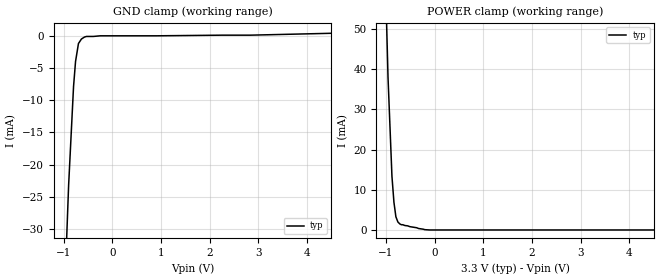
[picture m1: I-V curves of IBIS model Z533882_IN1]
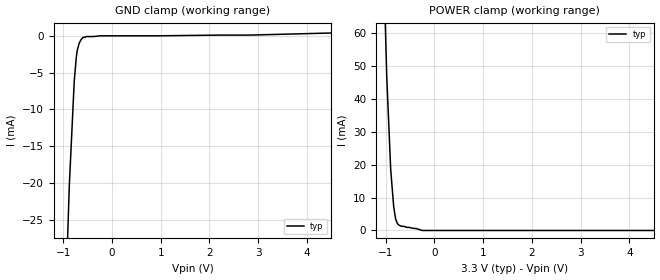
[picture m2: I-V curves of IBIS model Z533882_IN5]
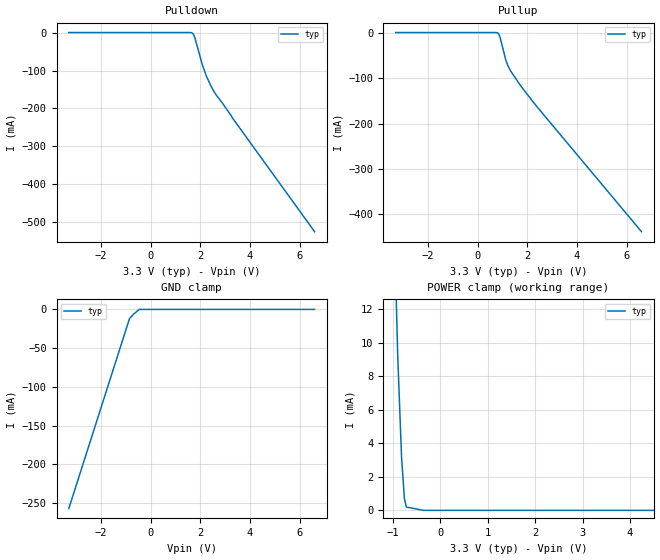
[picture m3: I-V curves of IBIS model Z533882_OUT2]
| YOU ARE ONLY AUTHORIZED TO USE THIS SOFTWARE
| ACCORDING TO LICENSOR'S LICENSE RESTRICTIONS.
[IBIS Ver] 3.1
[File Name] mc100lve111fn_pecl.ibs
[File Rev] 2.0
[Source] Measured and created by ICX Technology
[Date] Friday 7/14/00 9:07:48 AM
[Copyright]
| (C) COPYRIGHT 1993-2000
| MENTOR GRAPHICS CORPORATION
| ICX STANDARD LIBRARY, ICX PROJECT MODELING,
| ICX CUSTOM MODELING, ICX VENDOR MODEL
| ALL RIGHTS RESERVED.
| THE FOLLOWING ARE TRADEMARKS OR SERVICE MARKS OF
| MENTOR GRAPHICS CORPORATION:ICX (R), ICX STANDARD
| LIBRARY(R), ICX PROJECT MODELING(R), ICX CUSTOM
| MODELING(R), qualityIBIS(TM), MODELVIEWER(TM),
| AND MODELEDITOR(TM)
| ALL COPIES OF SOFTWARE, INCLUDING BUT NOT LIMITED TO
| ANY MODIFICATIONS, ENHANCEMENTS OR DERIVATIVE WORKS,
| MUST CONTAIN ALL MENTOR GRAPHICS CORPORATION'S
| NOTICES AND LEGENDS, INCLUDING THOSE EMBEDDED IN
| SOFTWARE AND THOSE AFFIXED TO SOFTWARE MEDIUM
| AND CONTAINER, AS RECEIVED FROM MENTOR GRAPHICS
| CORPORATION.
|  ZAP Model Builder 2.7
[Component] MC100LVE111FN_PECL
[Manufacturer] OnSemiconductor
[Package]
| variable   typ   min   max
R_pkg  .083ohms NA NA
L_pkg  4.299nH NA NA
C_pkg  1.045pF NA NA
[Pin] signal_name  model_name  R_pin  L_pin C_pin
1 VCC POWER .08 3.94n .925p
2 _IN Z533882_IN1 .082 4.14n .995p
3 VBB NC .084 4.354n 1.065p
4 NC NC .086 4.583n 1.135p
5 _Q8 Z533882_OUT2 .086 4.583n 1.135p
6 Q8 Z533882_OUT2 .084 4.354n 1.065p
7 _Q7 Z533882_OUT2 .082 4.14n .995p
8 VCCO POWER .08 3.94n .925p
9 Q7 Z533882_OUT2 .082 4.14n .995p
10 _Q6 Z533882_OUT2 .084 4.354n 1.065p
11 Q6 Z533882_OUT2 .086 4.583n 1.135p
12 _Q5 Z533882_OUT3 .086 4.583n 1.135p
13 Q5 Z533882_OUT3 .084 4.354n 1.065p
14 _Q4 Z533882_OUT3 .082 4.14n .995p
15 VCCO POWER .08 3.94n .925p
16 Q4 Z533882_OUT3 .082 4.14n .995p
17 _Q3 Z533882_OUT3 .084 4.354n 1.065p
18 Q3 Z533882_OUT3 .086 4.583n 1.135p
19 _Q2 Z533882_OUT4 .086 4.583n 1.135p
20 Q2 Z533882_OUT4 .084 4.354n 1.065p
21 _Q1 Z533882_OUT4 .082 4.14n .995p
22 VCCO POWER .08 3.94n .925p
23 Q1 Z533882_OUT4 .082 4.14n .995p
24 _Q0 Z533882_OUT4 .084 4.354n 1.065p
25 Q0 Z533882_OUT4 .086 4.583n 1.135p
26 VEE POWER .086 4.583n 1.135p
27 NC NC .084 4.354n 1.065p
28 IN Z533882_IN5 .082 4.14n .995p
| Models and submodels in the file (5): Z533882_IN1 (Input_ECL), Z533882_IN5 (Input_ECL), Z533882_OUT2 (Output_ECL), Z533882_OUT3 (Output_ECL), Z533882_OUT4 (Output_ECL)
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| (C) COPYRIGHT 1993-2000
| MENTOR GRAPHICS CORPORATION
| ICX STANDARD LIBRARY, ICX PROJECT MODELING,
| ICX CUSTOM MODELING, ICX VENDOR MODEL
| ALL RIGHTS RESERVED.
| THE FOLLOWING ARE TRADEMARKS OR SERVICE MARKS OF
| MENTOR GRAPHICS CORPORATION:ICX (R), ICX STANDARD
| LIBRARY(R), ICX PROJECT MODELING(R), ICX CUSTOM
| MODELING(R), qualityIBIS(TM), MODELVIEWER(TM),
| AND MODELEDITOR(TM)
| ALL COPIES OF SOFTWARE, INCLUDING BUT NOT LIMITED TO
| ANY MODIFICATIONS, ENHANCEMENTS OR DERIVATIVE WORKS,
| MUST CONTAIN ALL MENTOR GRAPHICS CORPORATION'S
| NOTICES AND LEGENDS, INCLUDING THOSE EMBEDDED IN
| SOFTWARE AND THOSE AFFIXED TO SOFTWARE MEDIUM
| AND CONTAINER, AS RECEIVED FROM MENTOR GRAPHICS
| CORPORATION.
| Model Application Version 1.89 2/18/99.
[Model] Z533882_IN1
Model_type Input_ECL
Vinl = 2.115V
Vinh = 2.301V
C_comp 4.000pF NA NA
| variable typ   min   max
[Voltage Range] 3.300V NA NA
[GND Clamp Reference] 0.000V NA NA
[POWER Clamp Reference] 3.300V NA NA
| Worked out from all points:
|   GND clamp passes 1 mA (typ) near -0.68 V on its own axis
|   POWER clamp passes 1 mA (typ) near -0.55 V on its own axis
[GND Clamp]
-3.3V     -608.1mA   NA         NA
-1.018V   -48.2mA    NA         NA
-896mV    -23.2mA    NA         NA
-795mV    -7.9mA     NA         NA
-754mV    -4mA       NA         NA
-694mV    -1.2mA     NA         NA
-633mV    -500uA     NA         NA
-572mV    -200uA     NA         NA
-245.3mV  0A         NA         NA
2.839V    100uA      NA         NA
6.6V      761.5uA    NA         NA
[POWER Clamp]
-3.3V     1.333A     NA         NA
-1.102V   103.6mA    NA         NA
-960mV    38.05mA    NA         NA
-879mV    13.36mA    NA         NA
-838mV    6.872mA    NA         NA
-798mV    3.279mA    NA         NA
-757mV    1.986mA    NA         NA
-685.5mV  1.304mA    NA         NA
-209mV    82.23uA    NA         NA
-104.5mV  0A         NA         NA
6.6V      0A         NA         NA
| (C) COPYRIGHT 1993-2000
| MENTOR GRAPHICS CORPORATION
| ICX STANDARD LIBRARY, ICX PROJECT MODELING,
| ICX CUSTOM MODELING, ICX VENDOR MODEL
| ALL RIGHTS RESERVED.
| THE FOLLOWING ARE TRADEMARKS OR SERVICE MARKS OF
| MENTOR GRAPHICS CORPORATION:ICX (R), ICX STANDARD
| LIBRARY(R), ICX PROJECT MODELING(R), ICX CUSTOM
| MODELING(R), qualityIBIS(TM), MODELVIEWER(TM),
| AND MODELEDITOR(TM)
| ALL COPIES OF SOFTWARE, INCLUDING BUT NOT LIMITED TO
| ANY MODIFICATIONS, ENHANCEMENTS OR DERIVATIVE WORKS,
| MUST CONTAIN ALL MENTOR GRAPHICS CORPORATION'S
| NOTICES AND LEGENDS, INCLUDING THOSE EMBEDDED IN
| SOFTWARE AND THOSE AFFIXED TO SOFTWARE MEDIUM
| AND CONTAINER, AS RECEIVED FROM MENTOR GRAPHICS
| CORPORATION.
| Model Application Version 1.89 2/18/99.
[Model] Z533882_IN5
Model_type Input_ECL
Vinl = 2.115V
Vinh = 2.301V
C_comp 4.000pF NA NA
| variable typ   min   max
[Voltage Range] 3.300V NA NA
[GND Clamp Reference] 0.000V NA NA
[POWER Clamp Reference] 3.300V NA NA
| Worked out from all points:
|   GND clamp passes 1 mA (typ) near -0.67 V on its own axis
|   POWER clamp passes 1 mA (typ) near -0.58 V on its own axis
[GND Clamp]
-3.3V     -625.5mA   NA         NA
-1.018V   -49.4mA    NA         NA
-876mV    -20.4mA    NA         NA
-775mV    -6.2mA     NA         NA
-734mV    -3mA       NA         NA
-714mV    -2mA       NA         NA
-673mV    -1mA       NA         NA
-633mV    -500uA     NA         NA
-592.3mV  -200uA     NA         NA
-245.3mV  0A         NA         NA
2.819V    100uA      NA         NA
6.6V      742.4uA    NA         NA
[POWER Clamp]
-3.3V     1.298A     NA         NA
-980mV    46.75mA    NA         NA
-899mV    18.57mA    NA         NA
-838mV    7.276mA    NA         NA
-798mV    3.483mA    NA         NA
-757mV    1.99mA     NA         NA
-716mV    1.497mA    NA         NA
-247.3mV  0A         NA         NA
6.6V      0A         NA         NA
| (C) COPYRIGHT 1993-2000
| MENTOR GRAPHICS CORPORATION
| ICX STANDARD LIBRARY, ICX PROJECT MODELING,
| ICX CUSTOM MODELING, ICX VENDOR MODEL
| ALL RIGHTS RESERVED.
| THE FOLLOWING ARE TRADEMARKS OR SERVICE MARKS OF
| MENTOR GRAPHICS CORPORATION:ICX (R), ICX STANDARD
| LIBRARY(R), ICX PROJECT MODELING(R), ICX CUSTOM
| MODELING(R), qualityIBIS(TM), MODELVIEWER(TM),
| AND MODELEDITOR(TM)
| ALL COPIES OF SOFTWARE, INCLUDING BUT NOT LIMITED TO
| ANY MODIFICATIONS, ENHANCEMENTS OR DERIVATIVE WORKS,
| MUST CONTAIN ALL MENTOR GRAPHICS CORPORATION'S
| NOTICES AND LEGENDS, INCLUDING THOSE EMBEDDED IN
| SOFTWARE AND THOSE AFFIXED TO SOFTWARE MEDIUM
| AND CONTAINER, AS RECEIVED FROM MENTOR GRAPHICS
| CORPORATION.
| Model Application Version 1.89 2/18/99.
[Model] Z533882_OUT2
Model_type Output_ECL
Vref=1.300V
Rref=50.00ohms
Cref=0.000F
Vmeas=2.207V
C_comp 8.000pF NA NA
| variable typ   min   max
[Voltage Range] 3.300V NA NA
[POWER Clamp Reference] 3.300V NA NA
[Pullup Reference] 3.300V NA NA
[Pulldown Reference] 3.300V NA NA
[GND Clamp Reference] 0.000V NA NA
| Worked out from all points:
|   GND clamp passes 1 mA (typ) near -0.50 V on its own axis
|   POWER clamp passes 1 mA (typ) near -0.76 V on its own axis
[GND Clamp]
-3.3V     -257mA     NA         NA
-856mV    -11.93mA   NA         NA
-694mV    -6.191mA   NA         NA
-462.7mV  0A         NA         NA
6.6V      0A         NA         NA
[Pulldown]
-3.3V     0A         NA         NA
1.658V    -700uA     NA         NA
1.719V    -4.2mA     NA         NA
1.78V     -14.2mA    NA         NA
2.084V    -86.2mA    NA         NA
2.246V    -115.3mA   NA         NA
2.429V    -141.3mA   NA         NA
2.551V    -155.7mA   NA         NA
3.281V    -224mA     NA         NA
6.6V      -524.3mA   NA         NA
[Pullup]
-3.3V     0A         NA         NA
704mV     0A         NA         NA
826mV     -1.6mA     NA         NA
907mV     -11.1mA    NA         NA
1.13V     -59.3mA    NA         NA
1.211V    -71.6mA    NA         NA
1.333V    -84.7mA    NA         NA
1.699V    -114.3mA   NA         NA
2.368V    -161.6mA   NA         NA
6.6V      -437.7mA   NA         NA
[POWER Clamp]
-3.3V     273mA      NA         NA
-899mV    9.3mA      NA         NA
-818mV    3.2mA      NA         NA
-757mV    700uA      NA         NA
-716mV    200uA      NA         NA
-358mV    0A         NA         NA
6.6V      0A         NA         NA
[Ramp]
| variable typ min max
dV/dt_r 507.1m/265.7p NA NA
dV/dt_f 507.1m/187.8p NA NA
R_load = 500.0Ohms
